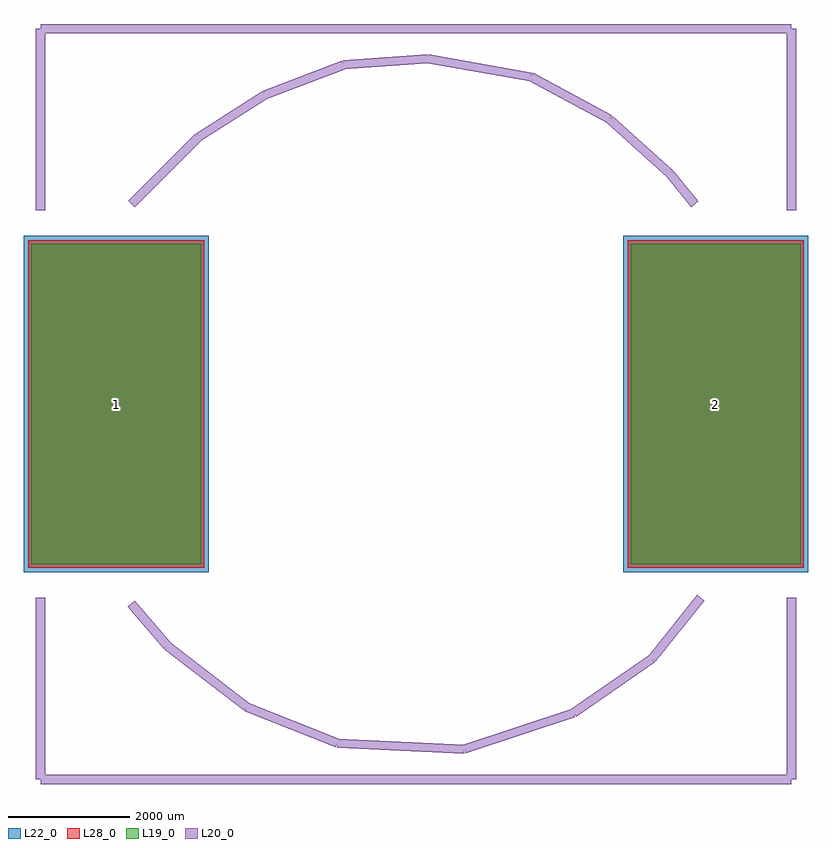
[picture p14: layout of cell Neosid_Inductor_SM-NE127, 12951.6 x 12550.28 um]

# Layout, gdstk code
import gdstk
lib = gdstk.Library(unit=1e-6, precision=1e-09)
def R(c, l, rs):  # rectangles x0, y0, x1, y1
    for r in rs: c.add(gdstk.rectangle(r[:2], r[2:], *l))
L19_0 = (19, 0)
L20_0 = (20, 0)
L22_0 = (22, 0)
L28_0 = (28, 0)

neosid_inductor_sm_ne127 = lib.new_cell('Neosid_Inductor_SM-NE127')
R(neosid_inductor_sm_ne127, L19_0, [(-6350.8,-2650.02,-3550.12,2650.02), (3550.12,-2650.02,6350.8,2650.02)])
R(neosid_inductor_sm_ne127, L22_0, [(-6475.8,-2775.02,-3425.12,2775.02), (3425.12,-2775.02,6475.8,2775.02)])
R(neosid_inductor_sm_ne127, L28_0, [(-6400.8,-2700.02,-3500.12,2700.02), (3500.12,-2700.02,6400.8,2700.02)])
neosid_inductor_sm_ne127.add(gdstk.FlexPath([(-6200.14,6200.14),(-6200.14,3200.4)], 149.998, ends="flush", simple_path=True, layer=20, datatype=0))  # L20_0
neosid_inductor_sm_ne127.add(gdstk.FlexPath([(6200.14,6200.14),(-6200.14,6200.14)], 149.998, ends="flush", simple_path=True, layer=20, datatype=0))  # L20_0
neosid_inductor_sm_ne127.add(gdstk.FlexPath([(6200.14,-6200.14),(6200.14,-3200.4)], 149.998, ends="flush", simple_path=True, layer=20, datatype=0))  # L20_0
neosid_inductor_sm_ne127.add(gdstk.FlexPath([(-6200.14,-6200.14),(6200.14,-6200.14)], 149.998, ends="flush", simple_path=True, layer=20, datatype=0))  # L20_0
neosid_inductor_sm_ne127.add(gdstk.FlexPath([(-6200.14,-3200.4),(-6200.14,-6200.14)], 149.998, ends="flush", simple_path=True, layer=20, datatype=0))  # L20_0
neosid_inductor_sm_ne127.add(gdstk.FlexPath([(6200.14,3200.4),(6200.14,6200.14)], 149.998, ends="flush", simple_path=True, layer=20, datatype=0))  # L20_0
neosid_inductor_sm_ne127.add(gdstk.FlexPath([(-3599.18,4399.28),(-4699,3299.46)], 149.998, ends="flush", simple_path=True, layer=20, datatype=0))  # L20_0
neosid_inductor_sm_ne127.add(gdstk.FlexPath([(-2499.36,5100.32),(-3599.18,4399.28)], 149.998, ends="flush", simple_path=True, layer=20, datatype=0))  # L20_0
neosid_inductor_sm_ne127.add(gdstk.FlexPath([(-1198.88,5600.7),(-2499.36,5100.32)], 149.998, ends="flush", simple_path=True, layer=20, datatype=0))  # L20_0
neosid_inductor_sm_ne127.add(gdstk.FlexPath([(200.66,5699.76),(-1198.88,5600.7)], 149.998, ends="flush", simple_path=True, layer=20, datatype=0))  # L20_0
neosid_inductor_sm_ne127.add(gdstk.FlexPath([(1899.92,5400.04),(200.66,5699.76)], 149.998, ends="flush", simple_path=True, layer=20, datatype=0))  # L20_0
neosid_inductor_sm_ne127.add(gdstk.FlexPath([(3200.4,4699),(1899.92,5400.04)], 149.998, ends="flush", simple_path=True, layer=20, datatype=0))  # L20_0
neosid_inductor_sm_ne127.add(gdstk.FlexPath([(4201.16,3799.84),(3200.4,4699)], 149.998, ends="flush", simple_path=True, layer=20, datatype=0))  # L20_0
neosid_inductor_sm_ne127.add(gdstk.FlexPath([(4599.94,3299.46),(4201.16,3799.84)], 149.998, ends="flush", simple_path=True, layer=20, datatype=0))  # L20_0
neosid_inductor_sm_ne127.add(gdstk.FlexPath([(3898.9,-4201.16),(4699,-3200.4)], 149.998, ends="flush", simple_path=True, layer=20, datatype=0))  # L20_0
neosid_inductor_sm_ne127.add(gdstk.FlexPath([(2600.96,-5100.32),(3898.9,-4201.16)], 149.998, ends="flush", simple_path=True, layer=20, datatype=0))  # L20_0
neosid_inductor_sm_ne127.add(gdstk.FlexPath([(800.1,-5699.76),(2600.96,-5100.32)], 149.998, ends="flush", simple_path=True, layer=20, datatype=0))  # L20_0
neosid_inductor_sm_ne127.add(gdstk.FlexPath([(-1300.48,-5600.7),(800.1,-5699.76)], 149.998, ends="flush", simple_path=True, layer=20, datatype=0))  # L20_0
neosid_inductor_sm_ne127.add(gdstk.FlexPath([(-2799.08,-5001.26),(-1300.48,-5600.7)], 149.998, ends="flush", simple_path=True, layer=20, datatype=0))  # L20_0
neosid_inductor_sm_ne127.add(gdstk.FlexPath([(-4099.56,-4000.5),(-2799.08,-5001.26)], 149.998, ends="flush", simple_path=True, layer=20, datatype=0))  # L20_0
neosid_inductor_sm_ne127.add(gdstk.FlexPath([(-4699,-3299.46),(-4099.56,-4000.5)], 149.998, ends="flush", simple_path=True, layer=20, datatype=0))  # L20_0
neosid_inductor_sm_ne127.add(gdstk.Label('1', (-4950.46,0), layer=28, texttype=0))
neosid_inductor_sm_ne127.add(gdstk.Label('2', (4950.46,0), layer=28, texttype=0))
neosid_inductor_sm_ne127.add(gdstk.Label('type', (0,-8300.72), layer=9, texttype=0))
neosid_inductor_sm_ne127.add(gdstk.Label('devicename', (0,7599.68), layer=9, texttype=0))

lib.write_gds('Neosid_Inductor_SM-NE127.gds')
